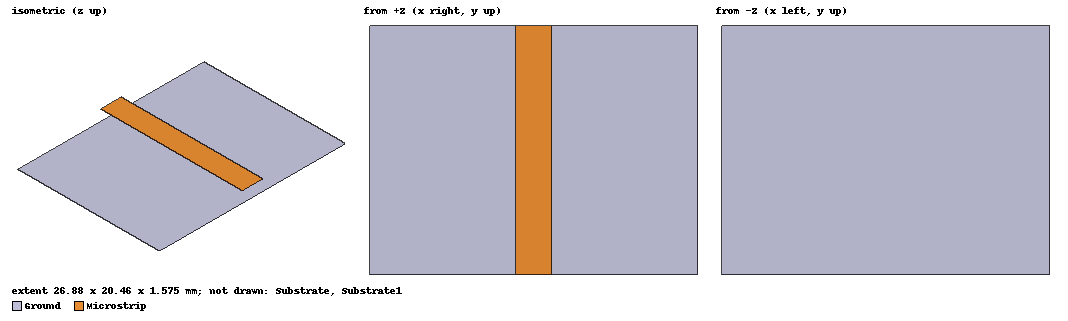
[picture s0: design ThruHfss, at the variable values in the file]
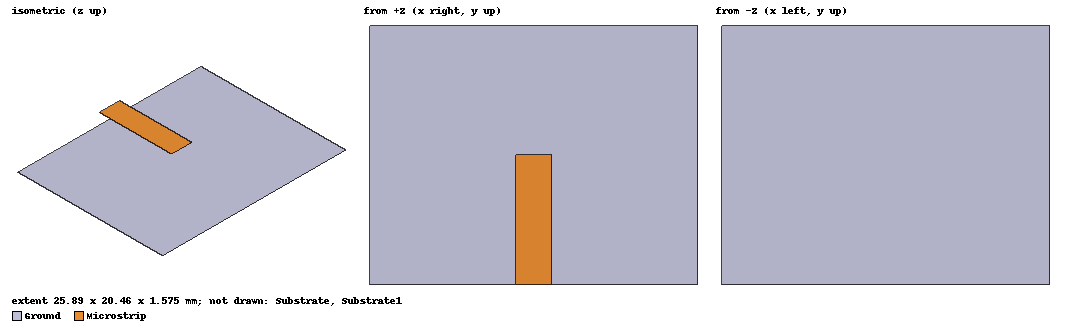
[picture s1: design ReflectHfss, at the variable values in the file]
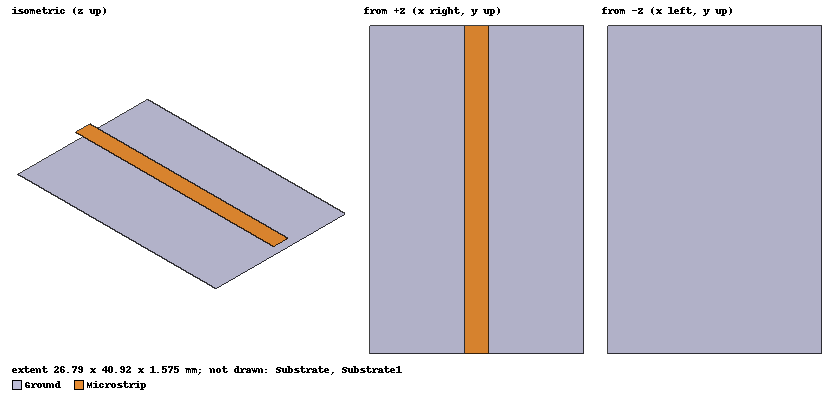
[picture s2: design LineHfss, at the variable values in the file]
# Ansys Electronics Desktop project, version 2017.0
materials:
  copper: permeability=0.999991 conductivity=58000000
  FR4_epoxy: permittivity=4.4 dielectric_loss_tangent=0.02
  Rogers RT/duroid 5880 (tm): permittivity=2.2 dielectric_loss_tangent=0.0009
  vacuum: permittivity=1

design ThruHfss (HFSS, DrivenModal, model units mm)
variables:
  sub_x = 9*strip_w
  sub_y = strip_p
  sub_z = 62mil
  strip_w = 2.987mm
  strip_p = 20.46mm
  air_h = 4*strip_w
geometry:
  Substrate [FR4_epoxy] = box(corner=(0mm, 0mm, 0mm), size=(sub_x, sub_y, sub_z))
  Ground = object_from(Substrate.face(-z))
  Microstrip = rectangle(corner=((sub_x-strip_w)/2, 0mm, sub_z), x_size=strip_w, y_size=strip_p)
  Substrate1 [FR4_epoxy] = box(corner=(0mm, 0mm, sub_z), size=(sub_x, sub_y, air_h))
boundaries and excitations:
  FiniteCond2: Finite Conductivity Objects=Microstrip UseMaterial Material=copper IsInternal
  Rad1: Radiation Faces=Substrate1.face(+z, -x, +x) Substrate.face(-x, +x)
  1: Wave Port Faces=Substrate.face(-y) Substrate1.face(-y) NumModes=1 DeembedDist=10.23mm Modes{Mode1{CharImp=Zpi}}
  2: Wave Port Faces=Substrate1.face(+y) Substrate.face(+y) NumModes=1 DeembedDist=10.23mm Modes{Mode1{CharImp=Zpi}}
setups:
  Setup1: HfssDriven Frequency=2GHz MaxDeltaS=0.01 MaximumPasses=20 MinimumPasses=1 MinimumConvergedPasses=2 PercentRefinement=30 BasisOrder=1 PortAccuracy=2 RayDensityPerWavelength=4 MaxNumberOfBounces=5
    sweep Sweep: 1GHz to 4GHz, 3001 points; Type=Interpolating InterpTolerance=0.5 InterpMaxSolns=250 InterpUsePortImped=false PassivityErrorTolerance=0.0001
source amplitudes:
  1:1: 1W 0deg
  2:1: 0W 0deg
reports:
  XY Plot 1: dB(S(1,1)), dB(S(1,2)), dB(S(2,1)), dB(S(2,2)) vs Freq on Setup1 : Sweep
  XY Plot 2: ang_deg(S(1,1)), ang_deg(S(1,2)), ang_deg(S(2,1)), ang_deg(S(2,2)) vs Freq on Setup1 : Sweep

design ReflectHfss (HFSS, DrivenModal, model units mm)
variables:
  sub_x = 9*strip_w
  sub_y = 2*strip_p
  sub_z = 62mil
  strip_w = 2.877mm
  strip_p = 10.23mm
  air_h = 4*strip_w
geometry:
  Substrate [FR4_epoxy] = box(corner=(0mm, 0mm, 0mm), size=(sub_x, sub_y, sub_z))
  Ground = object_from(Substrate.face(-z))
  Microstrip = rectangle(corner=((sub_x-strip_w)/2, 0mm, sub_z), x_size=strip_w, y_size=strip_p)
  Substrate1 [FR4_epoxy] = box(corner=(0mm, 0mm, sub_z), size=(sub_x, sub_y, air_h))
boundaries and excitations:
  FiniteCond2: Finite Conductivity Objects=Microstrip UseMaterial Material=copper IsInternal
  Rad1: Radiation Faces=Substrate1.face(+x, +z, +y, -x) Substrate.face(+x, +y, -x)
  1: Wave Port Faces=Substrate.face(-y) Substrate1.face(-y) NumModes=1 DeembedDist=10.23mm Modes{Mode1{CharImp=Zpi}}
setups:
  Setup1: HfssDriven Frequency=2GHz MaxDeltaS=0.01 MaximumPasses=20 MinimumPasses=1 MinimumConvergedPasses=2 PercentRefinement=30 BasisOrder=1 PortAccuracy=2 RayDensityPerWavelength=4 MaxNumberOfBounces=5
    sweep Sweep: 1GHz to 4GHz, 3001 points; Type=Interpolating InterpTolerance=0.5 InterpMaxSolns=250 InterpUsePortImped=false PassivityErrorTolerance=0.0001
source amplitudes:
  1:1: 1W 0deg
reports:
  Smith Chart 1: S(1,1) on Setup1 : LastAdaptive [Freq=all]
  XY Plot 1: dB(S(1,1)) vs Freq on Setup1 : Sweep
  XY Plot 2: VSWR(1) vs Freq on Setup1 : Sweep
  XY Plot 3: ang_deg(S(1,1)) vs Freq on Setup1 : Sweep

design LineHfss (HFSS, DrivenModal, model units mm)
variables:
  sub_x = 9*strip_w
  sub_y = strip_p
  sub_z = 62mil
  strip_w = 2.977mm
  strip_p = 40.925mm
  air_h = 4*strip_w
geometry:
  Substrate [FR4_epoxy] = box(corner=(0mm, 0mm, 0mm), size=(sub_x, sub_y, sub_z))
  Ground = object_from(Substrate.face(-z))
  Microstrip = rectangle(corner=((sub_x-strip_w)/2, 0mm, sub_z), x_size=strip_w, y_size=strip_p)
  Substrate1 [FR4_epoxy] = box(corner=(0mm, 0mm, sub_z), size=(sub_x, sub_y, air_h))
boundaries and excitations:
  FiniteCond2: Finite Conductivity Objects=Microstrip UseMaterial Material=copper IsInternal
  Rad1: Radiation Faces=Substrate1.face(+x, +z, -x) Substrate.face(+x, -x)
  1: Wave Port Faces=Substrate.face(-y) Substrate1.face(-y) NumModes=1 DeembedDist=10.23mm Modes{Mode1{CharImp=Zpi}}
  2: Wave Port Faces=Substrate1.face(+y) Substrate.face(+y) NumModes=1 DeembedDist=10.23mm Modes{Mode1{CharImp=Zpi}}
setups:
  Setup1: HfssDriven Frequency=2GHz MaxDeltaS=0.01 MaximumPasses=20 MinimumPasses=1 MinimumConvergedPasses=2 PercentRefinement=30 BasisOrder=1 PortAccuracy=2 RayDensityPerWavelength=4 MaxNumberOfBounces=5
    sweep Sweep: 1GHz to 4GHz, 3001 points; Type=Interpolating InterpTolerance=0.5 InterpMaxSolns=250 InterpUsePortImped=false PassivityErrorTolerance=0.0001
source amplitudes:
  1:1: 1W 0deg
  2:1: 0W 0deg
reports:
  XY Plot 1: dB(S(1,1)), dB(S(1,2)), dB(S(2,1)), dB(S(2,2)) vs Freq on Setup1 : Sweep
  XY Plot 2: ang_deg(S(1,1)), ang_deg(S(1,2)), ang_deg(S(2,1)), ang_deg(S(2,2)) vs Freq on Setup1 : Sweep; markers MX1 at x=1.7822719e+09

design Thru (Circuit)
options: SParamCircuitDef IntegrationMethod=FFT
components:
  A5 = MS_TRL(P=20.4625mm W=2.9877mm)
  port Port1 pnum=1 rz=50ohm iz=0ohm noisetemp=16.85 noisetemporig=16.85cel
  port Port2 pnum=2 rz=50ohm iz=0ohm noisetemp=16.85 noisetemporig=16.85cel
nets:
  Port1: A5.0
  Port2: A5.1
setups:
  LinearFrequency: LinearFrequencyData(false, 0.1, false, "", false) SweepDefinition{Variable=F Data="LIN 1.5GHz 2.5GHz 10MHz"}
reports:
  Smith Chart 1: S(Port1,Port1), S(Port1,Port2), S(Port2,Port1), S(Port2,Port2) on LinearFrequency : LinearFrequency [F=all]
  XY Plot 1: dB(S(Port1,Port1)), dB(S(Port1,Port2)), dB(S(Port2,Port1)), dB(S(Port2,Port2)) vs F on LinearFrequency : LinearFrequency
  XY Plot 2: VSWR(Port1), VSWR(Port2) vs F on LinearFrequency : LinearFrequency

design Reflect (Circuit)
options: SParamCircuitDef IntegrationMethod=FFT
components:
  W75 = MS_OPEN_STUB(W=2.9877mm P="(20.4625/2) mm")
  port Port1 pnum=2 rz=50ohm iz=0ohm noisetemp=16.85 noisetemporig=16.85cel
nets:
  Port1: W75.0
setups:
  LinearFrequency: LinearFrequencyData(false, 0.1, false, "", false) SweepDefinition{Variable=F Data="LIN 1.5GHz 2.5GHz 10MHz"}
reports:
  XY Plot 1: dB(S(Port1,Port1)) vs F on LinearFrequency : LinearFrequency
  XY Plot 2: VSWR(Port1) vs F on LinearFrequency : LinearFrequency

design Line1 (Circuit)
options: SParamCircuitDef IntegrationMethod=FFT
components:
  A5 = MS_TRL(P="(20.4625*2) mm" W=2.9877mm)
  port Port1 pnum=1 rz=50ohm iz=0ohm noisetemp=16.85 noisetemporig=16.85cel
  port Port2 pnum=2 rz=50ohm iz=0ohm noisetemp=16.85 noisetemporig=16.85cel
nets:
  Port1: A5.0
  Port2: A5.1
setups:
  LinearFrequency: LinearFrequencyData(false, 0.1, false, "", false) SweepDefinition{Variable=F Data="LIN 1.5GHz 2.5GHz 10MHz"}
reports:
  XY Plot 1: dB(S(Port1,Port1)), dB(S(Port2,Port1)) vs F on LinearFrequency : LinearFrequency
  Polar Plot 1: S(Port1,Port1), S(Port1,Port2), S(Port2,Port1), S(Port2,Port2) on LinearFrequency : LinearFrequency [F=all]
  Smith Chart 1: S(Port1,Port1), S(Port1,Port2), S(Port2,Port1), S(Port2,Port2) on LinearFrequency : LinearFrequency [F=all]
